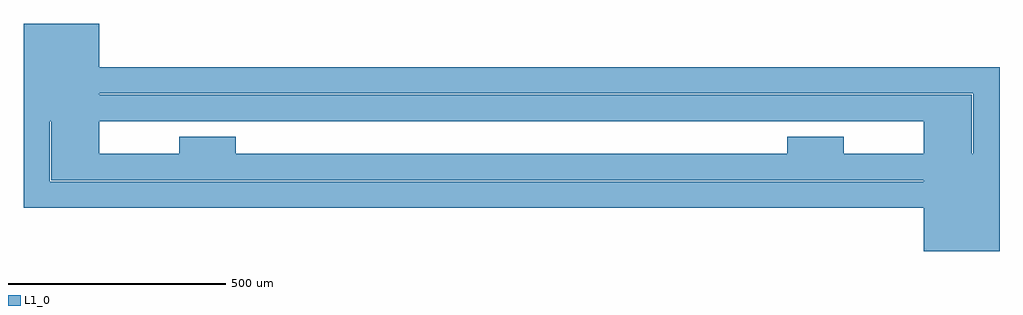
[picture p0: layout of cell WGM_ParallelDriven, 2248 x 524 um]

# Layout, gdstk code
import gdstk
lib = gdstk.Library(unit=1e-6, precision=1e-09)
def R(c, l, rs):  # rectangles x0, y0, x1, y1
    for r in rs: c.add(gdstk.rectangle(r[:2], r[2:], *l))
def P(c, l, *ps):  # polygons
    for p in ps: c.add(gdstk.Polygon(p, *l))
L1_0 = (1, 0)

ebond_0 = lib.new_cell('EBOND_0')

ebond_1 = lib.new_cell('EBOND_1')

ebond_2 = lib.new_cell('EBOND_2')

ebond_3 = lib.new_cell('EBOND_3')

wgm_paralleldriven = lib.new_cell('WGM_ParallelDriven')
R(wgm_paralleldriven, L1_0, [(1105,-417,1279,-254), (-795,-317,1105,-257), (-905,-253,-795,-118), (-795,-253,1105,-193), (-610,-253,-480,-153), (790,-253,920,-153), (1105,-192,1215,-57), (-795,-117,1105,-57), (-969,-56,-795,107), (-795,-53,1105,7)])
P(wgm_paralleldriven, L1_0, [(1105,-253),(1105,-193),(1219,-193),(1219,-53),(1105,-53),(1105,7),(1279,7),(1279,-253)],
  [(-969,-317),(-969,-57),(-795,-57),(-795,-117),(-909,-117),(-909,-257),(-795,-257),(-795,-317)])
wgm_paralleldriven.add(gdstk.FlexPath([(1105,-53),(1105,7)], 0, ends="flush", simple_path=True, layer=1, datatype=0))  # L1_0
wgm_paralleldriven.add(gdstk.FlexPath([(1105,-117),(1105,-57)], 0, ends="flush", simple_path=True, layer=1, datatype=0))  # L1_0
wgm_paralleldriven.add(gdstk.FlexPath([(1105,-253),(1105,-193)], 0, ends="flush", simple_path=True, layer=1, datatype=0))  # L1_0
wgm_paralleldriven.add(gdstk.FlexPath([(-795,-193),(-795,-253)], 0, ends="flush", simple_path=True, layer=1, datatype=0))  # L1_0
wgm_paralleldriven.add(gdstk.FlexPath([(-795,-257),(-795,-317)], 0, ends="flush", simple_path=True, layer=1, datatype=0))  # L1_0
wgm_paralleldriven.add(gdstk.Reference(ebond_0, (1650,380)))
wgm_paralleldriven.add(gdstk.Reference(ebond_1, (250,380)))
wgm_paralleldriven.add(gdstk.Reference(ebond_2, (-76,178)))
wgm_paralleldriven.add(gdstk.Reference(ebond_2, (1928,300)))
wgm_paralleldriven.add(gdstk.Reference(ebond_3, (-26,28)))
wgm_paralleldriven.add(gdstk.Reference(ebond_3, (1978,150)))

lib.write_gds('WGM_ParallelDriven.gds')
